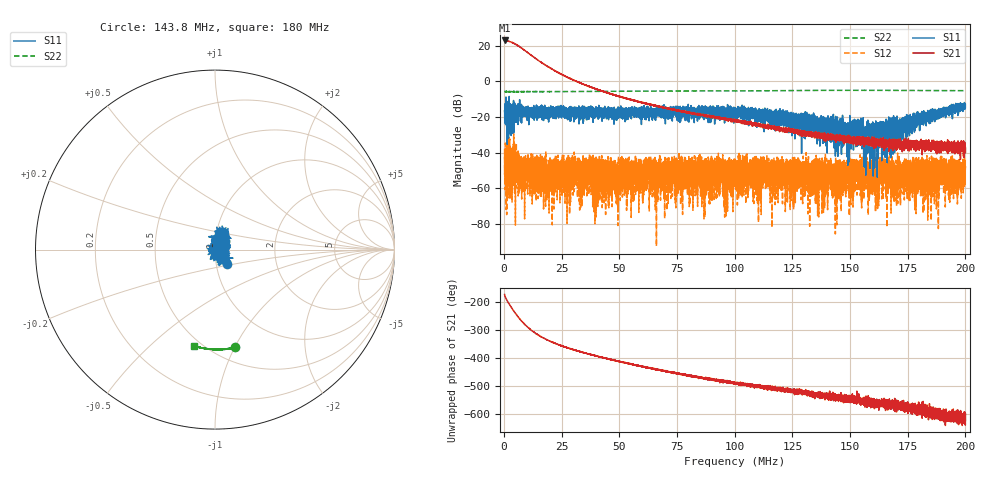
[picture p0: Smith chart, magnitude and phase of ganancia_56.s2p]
# Hz S DB R 50
! CMT, M5065, 19127446, 24.2.4/2
! Date: 11/8/2024 4:17:48 PM
! Data: Format (Calibration Info)
! Freq	S11:dB/Ang(F2)	S21:dB/Ang(F2)	S12:dB/Ang(F2)	S22:dB/Ang(F2)
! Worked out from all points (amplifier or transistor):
!   9000 points, 300 kHz to 200 MHz, reference 50 ohm
!   highest |S21| = 22.9 dB at 366.6 kHz (marker M1)
!   |S21| within 3 dB of that: start of sweep to 6.195 MHz
!   unconditionally stable (mu >= 1): start of sweep to end of sweep
!   at 33.59 MHz: K = 160.39, MAG = 0.2 dB, |S12| = -51.8 dB
!   at 100.2 MHz: K = 1604.69, MAG = -20.7 dB, |S12| = -51.0 dB
!   at 200 MHz: K = 7236.90, MAG = -35.9 dB, |S12| = -49.0 dB
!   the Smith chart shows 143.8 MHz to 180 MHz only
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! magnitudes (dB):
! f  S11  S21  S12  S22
! 300 kHz  -16.9  22.8  -37.9  -5.8
! 366.6 kHz  -22.0  22.9  -46.3  -5.8
! 3.074 MHz  -13.1  22.0  -47.4  -5.9
! 18.63 MHz  -18.6  8.5  -53.4  -5.8
! 20.61 MHz  -19.9  7.0  -48.0  -5.8
! 33.59 MHz  -16.3  -1.2  -51.8  -5.7
! 46.19 MHz  -18.7  -7.1  -43.0  -5.6
! 51.87 MHz  -20.3  -9.2  -57.2  -5.6
! 66.87 MHz  -18.0  -14.0  -50.3  -5.5
! 100.2 MHz  -15.0  -22.3  -51.0  -5.4
! 133.4 MHz  -23.9  -30.8  -45.9  -5.1
! 149.8 MHz  -27.7  -31.7  -42.9  -5.1
! 154.7 MHz  -20.7  -32.9  -50.1  -5.1
! 156.9 MHz  -34.2  -33.2  -54.6  -5.1
! 158.3 MHz  -30.3  -33.9  -52.1  -5.1
! 166.7 MHz  -35.1  -34.9  -51.6  -5.1
! 178.4 MHz  -23.3  -33.8  -47.5  -5.2
! 180.5 MHz  -22.0  -34.4  -54.1  -5.2
! 184.7 MHz  -19.0  -37.3  -46.1  -5.2
! 189.6 MHz  -16.1  -33.4  -45.9  -5.2
! 193.7 MHz  -14.9  -36.4  -51.5  -5.3
! 200 MHz  -14.7  -37.6  -49.0  -5.3
